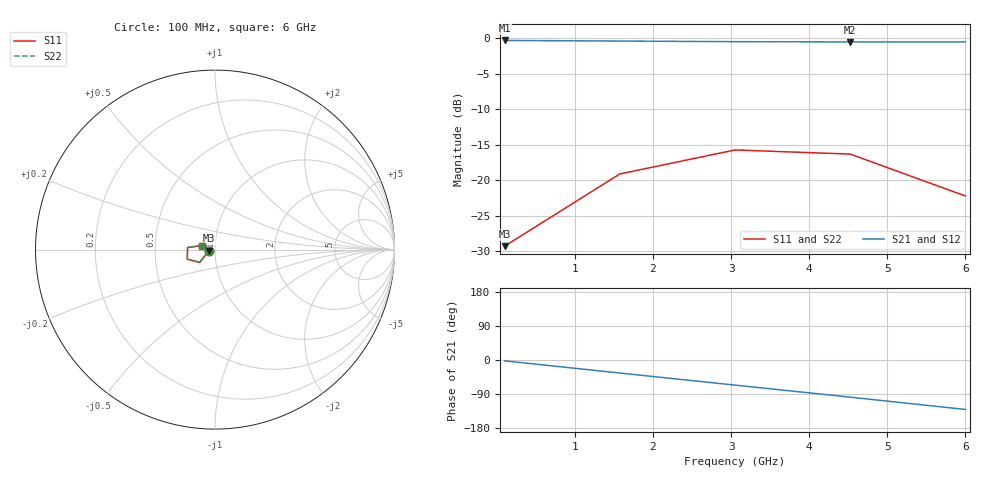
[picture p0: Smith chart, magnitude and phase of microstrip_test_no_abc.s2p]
! Generated by EMerge - 2-port S-parameters
! File generated: 2026-08-03 11:57
# GHz S RI R 50
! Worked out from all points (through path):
!   5 points, 100 MHz to 6 GHz, reference 50 ohm
!   highest |S21| = -0.30 dB at 100 MHz (marker M1); lowest = -0.5 dB at 4.525 GHz (marker M2)
!   lowest |S11| = -29.3 dB at 100 MHz (marker M3), VSWR 1.07, Z = 46.7 - j0.563 ohm
!   |S11| at or under -10 dB: start of sweep to end of sweep
!   |S22| runs from -29.3 to -15.7 dB; largest |S21 - S12| = 6.1e-05
0.1  -0.0338 -0.00602  0.9655 -0.037  0.9655 -0.037  -0.0338 -0.00602
1.575  -0.085 -0.0711  0.7897 -0.5407  0.7897 -0.5407  -0.085 -0.0711
3.05  -0.1546 -0.0533  0.3814 -0.867  0.3814 -0.867  -0.1546 -0.0534
4.525  -0.1525 0.0118  -0.1325 -0.934  -0.1325 -0.934  -0.1526 0.0116
6  -0.0741 0.0228  -0.6125 -0.7179  -0.6126 -0.7178  -0.0743 0.0226
